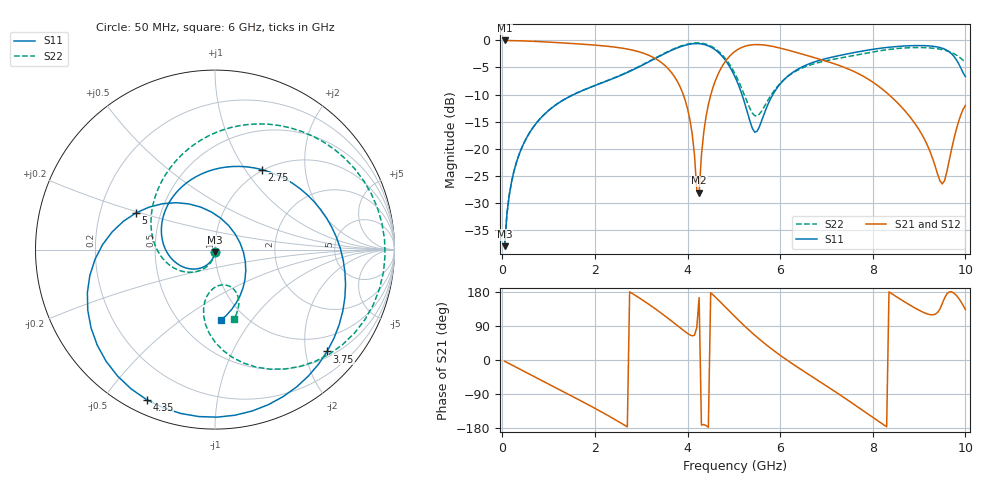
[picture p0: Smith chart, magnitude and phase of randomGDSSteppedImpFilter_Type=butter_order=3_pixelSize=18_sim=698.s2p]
! freq	dB(S11)	phase(S11)	dB(S12)	phase(S12)
!  dB(S21)	phase(S21)	dB(S22)	phase(S22)
!S-par simulation data
#  GHz  S  DB  R 50
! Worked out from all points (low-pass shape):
!   200 points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, 50 MHz to 10 GHz, reference 50 ohm
!   highest |S21| = -0.01 dB at 50 MHz (marker M1); lowest = -28.2 dB at 4.25 GHz (marker M2)
!   |S21| within 3 dB of the highest: start of sweep to 3.229 GHz; 4.899 GHz to 6.669 GHz (1.769 GHz wide, 30.6 % of centre)
!   lowest |S11| = -38.0 dB at 50 MHz (marker M3), VSWR 1.03, Z = 49.9 - j1.25 ohm
!   |S11| at or under -10 dB: start of sweep to 1.542 GHz; 5.175 GHz to 5.844 GHz (668.9 MHz wide, 12.1 % of centre)
!   |S22| runs from -38.0 to -0.5 dB; largest |S21 - S12| = 0
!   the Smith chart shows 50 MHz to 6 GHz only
!   S11 on the Smith chart (normalised r, x): 50 MHz: 1.00, -0.03; 2.75 GHz: 0.99, +1.20; 3.75 GHz: 0.62, -2.45; 4.35 GHz: 0.06, -0.64; 5 GHz: 0.36, +0.19; 6 GHz: 0.77, -0.72
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0.05  -38.03 -92.4  -0.01 -3.2  -0.01 -3.2  -38.03 -91.9
0.2  -26.14 -103.8  -0.03 -12.8  -0.03 -12.8  -26.13 -101.8
0.5  -18.41 -124.8  -0.11 -31.9  -0.11 -31.9  -18.40 -119.8
1.75  -9.20 145.1  -0.71 -111.1  -0.71 -111.1  -9.17 171.1
2.75  -5.73 59.5  -1.68 179.9  -1.68 179.9  -5.66 118.2
3.4  -2.90 -4.6  -3.87 126.6  -3.87 126.6  -2.81 74.7
3.75  -1.47 -42.3  -7.14 93.7  -7.14 93.7  -1.39 44.5
4.05  -0.70 -77.1  -14.59 66.3  -14.59 66.3  -0.59 14.4
4.25  -0.60 -101.7  -28.15 164.6  -28.15 164.6  -0.47 -7.6
4.35  -0.74 -114.5  -16.97 -170.2  -16.97 -170.2  -0.59 -19.1
4.65  -2.10 -154.5  -6.42 160.2  -6.42 160.2  -1.88 -54.0
5  -6.28 155.1  -2.19 117.2  -2.19 117.2  -5.77 -90.0
5.05  -7.20 147.1  -1.87 111.1  -1.87 111.1  -6.60 -93.9
5.45  -16.96 38.0  -0.77 65.5  -0.77 65.5  -13.90 -85.1
6  -8.05 -85.5  -1.42 12.5  -1.42 12.5  -7.94 -74.8
6.7  -4.09 -140.1  -3.09 -44.8  -3.09 -44.8  -4.40 -133.2
7.45  -2.49 176.5  -5.21 -105.0  -5.21 -105.0  -3.01 147.2
7.9  -1.78 151.3  -7.16 -142.9  -7.16 -142.9  -2.29 94.2
8.35  -1.26 124.3  -10.04 179.7  -10.04 179.7  -1.67 43.8
9.1  -0.96 71.0  -18.00 125.4  -18.00 125.4  -1.33 -25.7
9.6  -1.82 14.1  -24.27 174.5  -24.27 174.5  -1.92 -68.1
10  -6.69 -102.9  -12.04 133.3  -12.04 133.3  -4.06 -109.5
